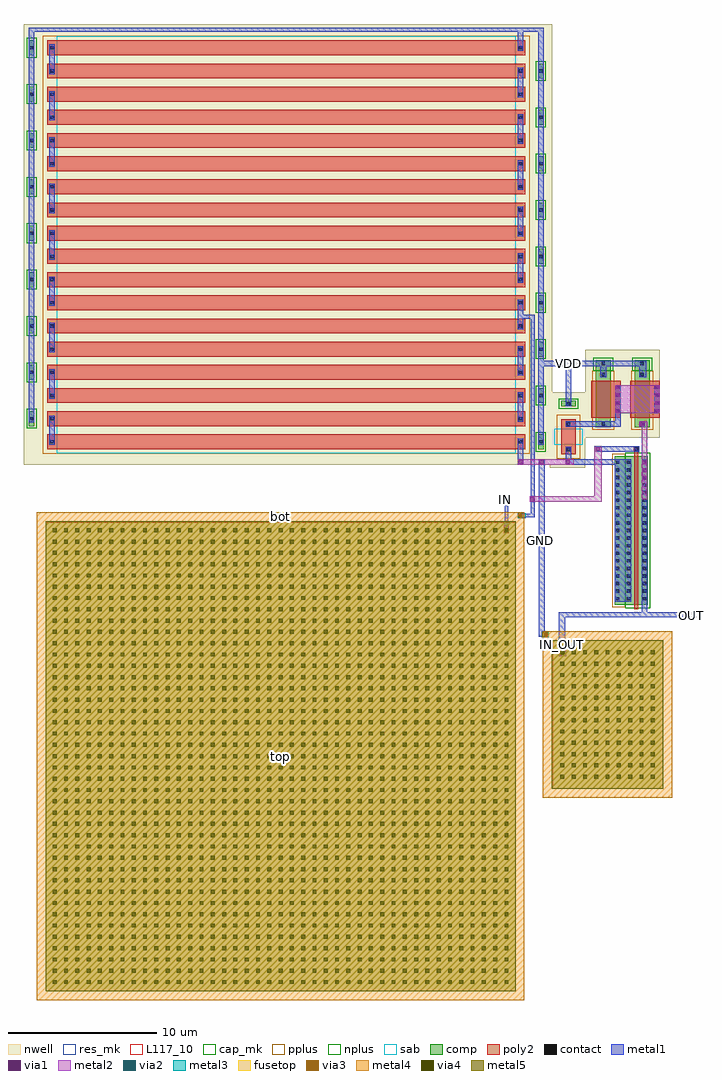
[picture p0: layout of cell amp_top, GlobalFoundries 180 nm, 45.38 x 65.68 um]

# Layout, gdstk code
import gdstk
lib = gdstk.Library(unit=1e-6, precision=5e-09)
def R(c, l, rs):  # rectangles x0, y0, x1, y1
    for r in rs: c.add(gdstk.rectangle(r[:2], r[2:], *l))
def A(c, l, x, y, w, h, nx, ny, dx, dy):  # array of equal rectangles
    R(c, l, [(x+i*dx, y+j*dy, x+i*dx+w, y+j*dy+h) for i in range(nx) for j in range(ny)])
def P(c, l, *ps):  # polygons
    for p in ps: c.add(gdstk.Polygon(p, *l))
nwell = (21, 0)
comp = (22, 0)
poly2 = (30, 0)
pplus = (31, 0)
nplus = (32, 0)
contact = (33, 0)
metal1 = (34, 0)
via1 = (35, 0)
metal2 = (36, 0)
via2 = (38, 0)
via3 = (40, 0)
via4 = (41, 0)
metal3 = (42, 0)
metal4 = (46, 0)
sab = (49, 0)
fusetop = (75, 0)
metal5 = (81, 0)
res_mk = (110, 5)
cap_mk = (117, 5)
L117_10 = (117, 10)

amp_top = lib.new_cell('amp_top')
R(amp_top, nwell, [(39.69,38.19,39.93,44.1), (39.93,38.19,42.31,44.1)])
P(amp_top, nwell, [(34.92,36.155),(34.92,36.365),(-0.49,36.365),(-0.49,66.03),(35.075,66.03),(35.075,41.25),(37.31,41.25),(37.31,44.1),(39.69,44.1),(39.69,38.19),(37.31,38.19),(37.31,36.155)])
A(amp_top, comp, 34.13, 37.41, 0.36, 1, 1, 9, 0, 3.12)
A(amp_top, comp, -0.14, 38.97, 0.36, 1, 1, 9, 0, 3.12)
R(amp_top, comp, [(39.275,26.945,39.985,36.945), (39.985,26.945,40.405,36.945), (40.405,26.945,41.065,36.945), (41.065,26.945,41.485,36.945), (38,38.88,39,39.34), (40.62,38.88,41.62,39.34), (38,39.34,39,42.22), (40.62,39.34,41.62,42.22), (35.67,40.3,36.67,40.66), (38,42.22,39,42.68), (40.62,42.22,41.62,42.68), (38,42.68,39,43.41), (40.62,42.68,41.62,43.41)])
A(amp_top, poly2, 1.08, 37.41, 32.19, 1, 1, 18, 0, 1.56)
R(amp_top, poly2, [(40.595,26.645,40.875,37.245), (35.67,37.07,36.67,39.44), (40.555,37.245,40.915,37.605), (37.7,39.53,39.3,42.03), (39.3,39.53,39.68,42.03), (40.32,39.53,41.92,42.03), (41.92,39.53,42.3,42.03)])
A(amp_top, pplus, 0.78, 37.11, 32.79, 1.6, 1, 18, 0, 1.56)
R(amp_top, pplus, [(39.105,26.775,39.985,37.115), (35.37,36.77,36.97,39.74), (37.76,38.71,39.24,42.68), (40.38,38.71,41.86,42.68)])
A(amp_top, nplus, 33.97, 37.25, 0.68, 1.32, 1, 9, 0, 3.12)
A(amp_top, nplus, -0.3, 38.81, 0.68, 1.32, 1, 9, 0, 3.12)
R(amp_top, nplus, [(39.985,26.705,41.655,37.185), (35.51,40.14,36.83,40.82), (37.83,42.68,39.17,43.58), (40.45,42.68,41.79,43.58)])
A(amp_top, contact, 39.375, 27.245, 0.22, 0.22, 1, 19, 0, 0.51)
A(amp_top, contact, 40.085, 27.245, 0.22, 0.22, 1, 19, 0, 0.51)
A(amp_top, contact, 41.165, 27.245, 0.22, 0.22, 1, 19, 0, 0.51)
A(amp_top, contact, 1.3, 37.8, 0.22, 0.22, 1, 18, 0, 1.56)
A(amp_top, contact, 32.83, 37.8, 0.22, 0.22, 1, 18, 0, 1.56)
A(amp_top, contact, 34.2, 37.8, 0.22, 0.22, 1, 9, 0, 3.12)
A(amp_top, contact, -0.07, 39.36, 0.22, 0.22, 1, 9, 0, 3.12)
A(amp_top, contact, 39.38, 39.905, 0.22, 0.22, 1, 4, 0, 0.51)
A(amp_top, contact, 42, 39.905, 0.22, 0.22, 1, 4, 0, 0.51)
R(amp_top, contact, [(36.06,37.29,36.28,37.51), (40.625,37.315,40.845,37.535), (36.06,39,36.28,39.22), (38.39,39,38.61,39.22), (41.01,39,41.23,39.22), (36.06,40.37,36.28,40.59), (38.39,42.34,38.61,42.56), (41.01,42.34,41.23,42.56), (38.39,43.07,38.61,43.29), (41.01,43.07,41.23,43.29)])
A(amp_top, metal1, 1.22, 37.72, 0.38, 0.38, 1, 18, 0, 1.56)
A(amp_top, metal1, 32.75, 37.72, 0.38, 0.38, 1, 18, 0, 1.56)
A(amp_top, metal1, 34.12, 37.72, 0.38, 0.38, 1, 9, 0, 3.12)
A(amp_top, metal1, -0.15, 39.28, 0.38, 0.38, 1, 9, 0, 3.12)
A(amp_top, metal1, 1.22, 41.22, 0.38, 1.18, 1, 7, 0, 3.12)
A(amp_top, metal1, 32.75, 52.14, 0.38, 1.18, 1, 3, 0, 3.12)
R(amp_top, metal1, [(39.295,27.165,39.675,36.725), (40.005,27.165,40.385,36.725), (31.86,31.77,32.12,31.83), (31.86,31.83,32.12,32.09), (32.75,32.82,32.81,33.08), (32.81,32.82,32.84,33.08), (32.75,36.365,33.13,37.72), (34.12,37.705,34.5,37.72), (1.22,37.71,1.6,37.72), (1.22,38.05,1.6,39.305), (34.12,38.075,34.24,53.32), (32.75,38.1,33.13,38.12), (35.98,38.92,38.31,39.3), (38.31,38.92,38.69,39.3), (40.93,38.92,41.31,39.3), (38.69,38.925,39.69,39.3), (-0.15,39.245,0.23,39.28), (32.75,39.255,33.13,39.28), (-0.15,39.28,0.23,63.395), (39.3,39.3,39.69,39.825), (32.75,39.565,33.13,40.865), (1.22,39.66,1.6,39.67), (39.3,39.825,39.68,41.735), (41.92,39.825,42.3,41.735), (1.22,40.825,1.6,40.84), (32.75,41.22,33.13,41.235), (38.31,42.26,38.69,42.64), (40.93,42.26,41.31,42.64), (41.31,42.26,41.405,43.37), (32.75,42.385,33.13,42.4), (38.31,42.635,38.69,42.99), (40.93,42.64,41.31,42.99), (32.75,42.725,33.13,43.96), (1.22,42.78,1.6,42.795), (38.31,42.99,38.69,43.37), (38.69,42.99,40.93,43.37), (40.93,42.99,41.31,43.37), (1.22,43.945,1.6,43.96), (32.75,44.34,33.13,44.355), (32.75,45.5,33.13,45.52), (32.75,45.82,33.13,47.12), (1.22,45.9,1.6,45.915), (1.22,47.065,1.6,47.08), (32.75,47.46,33.13,47.48), (32.75,48.62,33.13,48.64), (32.75,48.915,33.13,50.2), (1.22,49.02,1.6,49.03), (1.22,50.18,1.6,50.2), (32.75,50.58,33.13,50.595), (32.75,51.74,33.13,51.76), (1.22,52.14,1.6,52.16), (1.22,53.305,1.6,53.32), (32.75,53.7,33.13,53.72), (34.12,53.7,34.24,56.44), (32.75,54.865,33.13,54.88), (1.22,55.26,1.6,55.275), (1.22,56.425,1.6,56.44), (32.75,56.82,33.13,56.845), (34.12,56.82,34.24,59.56), (32.75,57.98,33.13,58), (33.02,58.18,33.07,58.44), (1.22,58.38,1.6,58.4), (1.22,59.545,1.6,59.56), (32.75,59.94,33.13,59.965), (34.12,59.94,34.5,62.63), (32.75,61.11,33.13,61.12), (32.75,61.12,33.13,63.06), (1.22,61.5,1.6,61.515), (34.12,62.63,34.5,65.785), (1.22,62.645,1.6,62.68), (1.22,62.68,1.6,64.655), (32.75,63.06,33.13,63.075), (-0.15,63.395,0.23,65.785), (32.75,64.22,33.13,64.24), (32.75,64.24,33.13,65.655)])
P(amp_top, metal1, [(35.525,23.565),(35.525,26.445),(41.085,26.445),(41.085,36.725),(41.465,36.725),(41.465,26.445),(44.895,26.445),(44.895,26.115),(35.94,26.115),(35.94,23.565)],
  [(31.86,32.09),(31.86,34.26),(32.12,34.26),(32.12,33.875),(32.12,32.09)],
  [(32.84,32.82),(32.84,33.08),(33.62,33.08),(33.62,33.875),(33.575,33.875),(33.575,34.26),(33.62,34.26),(33.62,34.35),(33.88,34.35),(33.88,32.82)],
  [(34.24,37.725),(34.24,59.945),(34.5,59.945),(34.5,43.37),(38.31,43.37),(38.31,42.99),(36.36,42.99),(36.36,40.29),(35.98,40.29),(35.98,42.99),(34.5,42.99),(34.5,37.725)],
  [(34.16,24.785),(34.16,25.095),(34.16,36.725),(34.575,36.725),(34.575,25.095),(34.845,25.095),(34.845,24.785)],
  [(37.895,37.235),(37.895,37.615),(40.925,37.615),(40.925,37.235),(40.545,37.235)],
  [(39.675,27.165),(39.675,36.365),(35.98,36.365),(35.98,37.59),(36.36,37.59),(36.36,36.725),(40.005,36.725),(40.005,27.165)],
  [(34.12,59.56),(34.12,59.56),(34.24,59.56),(34.24,59.56)],
  [(34.12,59.56),(34.12,59.56),(34.24,59.56),(34.24,59.56)],
  [(32.75,51.76),(32.75,51.76),(33.13,51.76),(33.13,51.76)],
  [(32.75,64.24),(32.75,64.24),(33.13,64.24),(33.13,64.24)],
  [(7.845,63.03),(7.845,63.03),(7.845,63.03),(7.845,63.03)])
A(amp_top, via1, 39.36, 40.395, 0.26, 0.26, 1, 3, 0, 0.52)
A(amp_top, via1, 41.98, 40.395, 0.26, 0.26, 1, 3, 0, 0.52)
R(amp_top, via1, [(35.625,23.61,35.885,23.87), (34.525,24.805,34.785,25.065), (34.525,24.805,34.785,25.065), (31.86,31.83,32.12,32.09), (32.81,32.82,33.07,33.08), (33.595,33.925,33.855,34.185), (41.165,35.365,41.425,35.625), (41.165,35.87,41.42,36.135), (41.145,36.405,41.405,36.665), (32.81,36.415,33.07,36.675), (34.245,36.425,34.505,36.685), (36.005,36.425,36.265,36.685), (38.015,37.3,38.275,37.56), (40.99,38.98,41.25,39.24), (41.01,39,41.23,39.22), (39.36,39.865,39.62,40.125), (41.98,39.865,42.24,40.125), (41.98,41.435,42.24,41.695)])
P(amp_top, via1, [(32.895,33.06),(32.895,33.06),(32.895,33.06),(32.895,33.06)])
R(amp_top, metal2, [(35.525,23.485,36,24.045), (34.38,24.75,34.845,25.125), (34.38,24.75,34.845,25.125), (31.82,31.77,32.16,32.305), (32.75,32.78,33.285,32.82), (32.75,32.82,33.285,33.08), (32.75,33.08,33.285,33.12), (41.085,34.06,41.465,39.3), (32.75,36.365,36.52,36.725), (40.93,38.92,41.385,39.3), (39.3,39.825,42.3,41.735)])
P(amp_top, metal2, [(33.575,33.875),(33.575,34.26),(37.895,34.26),(37.895,37.585),(38.405,37.585),(38.405,33.875)])
R(amp_top, via2, [(34.525,24.805,34.785,25.065), (34.525,24.805,34.785,25.065), (32.81,32.82,33.07,33.08)])
R(amp_top, via3, [(34.525,24.805,34.785,25.065), (34.525,24.805,34.785,25.065), (32.81,32.82,33.07,33.08)])
A(amp_top, via4, 1.46, 1.43, 0.26, 0.26, 41, 41, 0.76, 0.76)
R(amp_top, via4, [(35.625,15.25,35.885,15.51), (35.625,15.25,35.885,15.51), (36.385,15.25,36.645,15.51), (36.385,15.25,36.645,15.51), (37.145,15.25,37.405,15.51), (37.145,15.25,37.405,15.51), (37.905,15.25,38.165,15.51), (37.905,15.25,38.165,15.51), (38.665,15.25,38.925,15.51), (38.665,15.25,38.925,15.51), (39.425,15.25,39.685,15.51), (39.425,15.25,39.685,15.51), (40.185,15.25,40.445,15.51), (40.185,15.25,40.445,15.51), (40.945,15.25,41.205,15.51), (40.945,15.25,41.205,15.51), (41.705,15.25,41.965,15.51), (41.705,15.25,41.965,15.51), (35.625,16.01,35.885,16.27), (35.625,16.01,35.885,16.27), (36.385,16.01,36.645,16.27), (36.385,16.01,36.645,16.27), (37.145,16.01,37.405,16.27), (37.145,16.01,37.405,16.27), (37.905,16.01,38.165,16.27), (37.905,16.01,38.165,16.27), (38.665,16.01,38.925,16.27), (38.665,16.01,38.925,16.27), (39.425,16.01,39.685,16.27), (39.425,16.01,39.685,16.27), (40.185,16.01,40.445,16.27), (40.185,16.01,40.445,16.27), (40.945,16.01,41.205,16.27), (40.945,16.01,41.205,16.27), (41.705,16.01,41.965,16.27), (41.705,16.01,41.965,16.27), (35.625,16.77,35.885,17.03), (35.625,16.77,35.885,17.03), (36.385,16.77,36.645,17.03), (36.385,16.77,36.645,17.03), (37.145,16.77,37.405,17.03), (37.145,16.77,37.405,17.03), (37.905,16.77,38.165,17.03), (37.905,16.77,38.165,17.03), (38.665,16.77,38.925,17.03), (38.665,16.77,38.925,17.03), (39.425,16.77,39.685,17.03), (39.425,16.77,39.685,17.03), (40.185,16.77,40.445,17.03), (40.185,16.77,40.445,17.03), (40.945,16.77,41.205,17.03), (40.945,16.77,41.205,17.03), (41.705,16.77,41.965,17.03), (41.705,16.77,41.965,17.03), (35.625,17.53,35.885,17.79), (35.625,17.53,35.885,17.79), (36.385,17.53,36.645,17.79), (36.385,17.53,36.645,17.79), (37.145,17.53,37.405,17.79), (37.145,17.53,37.405,17.79), (37.905,17.53,38.165,17.79), (37.905,17.53,38.165,17.79), (38.665,17.53,38.925,17.79), (38.665,17.53,38.925,17.79), (39.425,17.53,39.685,17.79), (39.425,17.53,39.685,17.79), (40.185,17.53,40.445,17.79), (40.185,17.53,40.445,17.79), (40.945,17.53,41.205,17.79), (40.945,17.53,41.205,17.79), (41.705,17.53,41.965,17.79), (41.705,17.53,41.965,17.79), (35.625,18.29,35.885,18.55), (35.625,18.29,35.885,18.55), (36.385,18.29,36.645,18.55), (36.385,18.29,36.645,18.55), (37.145,18.29,37.405,18.55), (37.145,18.29,37.405,18.55), (37.905,18.29,38.165,18.55), (37.905,18.29,38.165,18.55), (38.665,18.29,38.925,18.55), (38.665,18.29,38.925,18.55), (39.425,18.29,39.685,18.55), (39.425,18.29,39.685,18.55), (40.185,18.29,40.445,18.55), (40.185,18.29,40.445,18.55), (40.945,18.29,41.205,18.55), (40.945,18.29,41.205,18.55), (41.705,18.29,41.965,18.55), (41.705,18.29,41.965,18.55), (35.625,19.05,35.885,19.31), (35.625,19.05,35.885,19.31), (36.385,19.05,36.645,19.31), (36.385,19.05,36.645,19.31), (37.145,19.05,37.405,19.31), (37.145,19.05,37.405,19.31), (37.905,19.05,38.165,19.31), (37.905,19.05,38.165,19.31), (38.665,19.05,38.925,19.31), (38.665,19.05,38.925,19.31), (39.425,19.05,39.685,19.31), (39.425,19.05,39.685,19.31), (40.185,19.05,40.445,19.31), (40.185,19.05,40.445,19.31), (40.945,19.05,41.205,19.31), (40.945,19.05,41.205,19.31), (41.705,19.05,41.965,19.31), (41.705,19.05,41.965,19.31), (35.625,19.81,35.885,20.07), (35.625,19.81,35.885,20.07), (36.385,19.81,36.645,20.07), (36.385,19.81,36.645,20.07), (37.145,19.81,37.405,20.07), (37.145,19.81,37.405,20.07), (37.905,19.81,38.165,20.07), (37.905,19.81,38.165,20.07), (38.665,19.81,38.925,20.07), (38.665,19.81,38.925,20.07), (39.425,19.81,39.685,20.07), (39.425,19.81,39.685,20.07), (40.185,19.81,40.445,20.07), (40.185,19.81,40.445,20.07), (40.945,19.81,41.205,20.07), (40.945,19.81,41.205,20.07), (41.705,19.81,41.965,20.07), (41.705,19.81,41.965,20.07), (35.625,20.57,35.885,20.83), (35.625,20.57,35.885,20.83), (36.385,20.57,36.645,20.83), (36.385,20.57,36.645,20.83), (37.145,20.57,37.405,20.83), (37.145,20.57,37.405,20.83), (37.905,20.57,38.165,20.83), (37.905,20.57,38.165,20.83), (38.665,20.57,38.925,20.83), (38.665,20.57,38.925,20.83), (39.425,20.57,39.685,20.83), (39.425,20.57,39.685,20.83), (40.185,20.57,40.445,20.83), (40.185,20.57,40.445,20.83), (40.945,20.57,41.205,20.83), (40.945,20.57,41.205,20.83), (41.705,20.57,41.965,20.83), (41.705,20.57,41.965,20.83), (35.625,21.33,35.885,21.59), (35.625,21.33,35.885,21.59), (36.385,21.33,36.645,21.59), (36.385,21.33,36.645,21.59), (37.145,21.33,37.405,21.59), (37.145,21.33,37.405,21.59), (37.905,21.33,38.165,21.59), (37.905,21.33,38.165,21.59), (38.665,21.33,38.925,21.59), (38.665,21.33,38.925,21.59), (39.425,21.33,39.685,21.59), (39.425,21.33,39.685,21.59), (40.185,21.33,40.445,21.59), (40.185,21.33,40.445,21.59), (40.945,21.33,41.205,21.59), (40.945,21.33,41.205,21.59), (41.705,21.33,41.965,21.59), (41.705,21.33,41.965,21.59), (35.625,22.09,35.885,22.35), (35.625,22.09,35.885,22.35), (36.385,22.09,36.645,22.35), (36.385,22.09,36.645,22.35), (37.145,22.09,37.405,22.35), (37.145,22.09,37.405,22.35), (37.905,22.09,38.165,22.35), (37.905,22.09,38.165,22.35), (38.665,22.09,38.925,22.35), (38.665,22.09,38.925,22.35), (39.425,22.09,39.685,22.35), (39.425,22.09,39.685,22.35), (40.185,22.09,40.445,22.35), (40.185,22.09,40.445,22.35), (40.945,22.09,41.205,22.35), (40.945,22.09,41.205,22.35), (41.705,22.09,41.965,22.35), (41.705,22.09,41.965,22.35), (35.625,22.85,35.885,23.11), (35.625,22.85,35.885,23.11), (36.385,22.85,36.645,23.11), (36.385,22.85,36.645,23.11), (37.145,22.85,37.405,23.11), (37.145,22.85,37.405,23.11), (37.905,22.85,38.165,23.11), (37.905,22.85,38.165,23.11), (38.665,22.85,38.925,23.11), (38.665,22.85,38.925,23.11), (39.425,22.85,39.685,23.11), (39.425,22.85,39.685,23.11), (40.185,22.85,40.445,23.11), (40.185,22.85,40.445,23.11), (40.945,22.85,41.205,23.11), (40.945,22.85,41.205,23.11), (41.705,22.85,41.965,23.11), (41.705,22.85,41.965,23.11), (35.625,23.61,35.885,23.87), (35.625,23.61,35.885,23.87), (36.385,23.61,36.645,23.87), (36.385,23.61,36.645,23.87), (37.145,23.61,37.405,23.87), (37.145,23.61,37.405,23.87), (37.905,23.61,38.165,23.87), (37.905,23.61,38.165,23.87), (38.665,23.61,38.925,23.87), (38.665,23.61,38.925,23.87), (39.425,23.61,39.685,23.87), (39.425,23.61,39.685,23.87), (40.185,23.61,40.445,23.87), (40.185,23.61,40.445,23.87), (40.945,23.61,41.205,23.87), (40.945,23.61,41.205,23.87), (41.705,23.61,41.965,23.87), (41.705,23.61,41.965,23.87)])
R(amp_top, metal3, [(34.38,24.75,34.845,25.125), (34.38,24.75,34.845,25.125), (32.75,32.78,33.285,33.12)])
R(amp_top, metal4, [(0.38,0.35,33.2,33.17), (34.445,13.96,43.145,25.16), (34.445,13.96,43.145,25.16)])
A(amp_top, sab, 1.74, 37.13, 30.87, 1.56, 1, 18, 0, 1.56)
R(amp_top, sab, [(35.215,37.73,37.125,38.78)])
R(amp_top, fusetop, [(0.98,0.95,32.6,32.57), (35.045,14.56,42.545,24.56), (35.045,14.56,42.545,24.56)])
R(amp_top, metal5, [(0.98,0.95,32.6,32.57), (35.045,14.56,42.545,24.56), (35.045,14.56,42.545,24.56)])
A(amp_top, res_mk, 1.74, 37.41, 30.87, 1, 1, 18, 0, 1.56)
R(amp_top, res_mk, [(35.67,37.73,36.67,38.78)])
R(amp_top, cap_mk, [(0.38,0.35,33.2,33.17), (34.445,13.96,43.145,25.16), (34.445,13.96,43.145,25.16)])
R(amp_top, L117_10, [(35.045,14.56,35.145,24.56), (35.045,14.56,35.145,24.56), (0.98,32.47,32.6,32.57)])
amp_top.add(gdstk.FlexPath([(32.94,37.72),(32.94,36.365)], 0.26, ends="flush", simple_path=True, layer=34, datatype=0))  # metal1
amp_top.add(gdstk.FlexPath([(34.37,64.465),(34.37,65.655),(0.1,65.655),(0.1,65.625),(0.1,65.625)], 0.26, ends="flush", simple_path=True, layer=34, datatype=0))  # metal1
amp_top.add(gdstk.FlexPath([(1.41,39.355),(1.41,37.905)], 0.26, ends="flush", simple_path=True, layer=34, datatype=0))  # metal1
amp_top.add(gdstk.FlexPath([(1.41,42.4),(1.41,41.14)], 0.26, ends="flush", simple_path=True, layer=34, datatype=0))  # metal1
amp_top.add(gdstk.FlexPath([(1.41,45.52),(1.41,44.15)], 0.26, ends="flush", simple_path=True, layer=34, datatype=0))  # metal1
amp_top.add(gdstk.FlexPath([(1.41,48.64),(1.41,47.27)], 0.26, ends="flush", simple_path=True, layer=34, datatype=0))  # metal1
amp_top.add(gdstk.FlexPath([(1.41,51.76),(1.41,50.5)], 0.26, ends="flush", simple_path=True, layer=34, datatype=0))  # metal1
amp_top.add(gdstk.FlexPath([(1.41,54.88),(1.41,53.62)], 0.26, ends="flush", simple_path=True, layer=34, datatype=0))  # metal1
amp_top.add(gdstk.FlexPath([(1.41,58),(1.41,56.63),(1.41,56.63)], 0.26, ends="flush", simple_path=True, layer=34, datatype=0))  # metal1
amp_top.add(gdstk.FlexPath([(1.41,61.12),(1.41,59.86),(1.41,59.86)], 0.26, ends="flush", simple_path=True, layer=34, datatype=0))  # metal1
amp_top.add(gdstk.FlexPath([(32.94,59.57),(32.94,58.31),(33.05,58.31)], 0.26, ends="flush", simple_path=True, layer=34, datatype=0))  # metal1
amp_top.add(gdstk.FlexPath([(32.94,56.44),(32.94,55.07),(32.94,55.07)], 0.26, ends="flush", simple_path=True, layer=34, datatype=0))  # metal1
amp_top.add(gdstk.FlexPath([(32.94,53.32),(32.94,51.95)], 0.26, ends="flush", simple_path=True, layer=34, datatype=0))  # metal1
amp_top.add(gdstk.FlexPath([(32.94,50.2),(32.94,48.72)], 0.26, ends="flush", simple_path=True, layer=34, datatype=0))  # metal1
amp_top.add(gdstk.FlexPath([(32.94,47.16),(32.94,45.71)], 0.26, ends="flush", simple_path=True, layer=34, datatype=0))  # metal1
amp_top.add(gdstk.FlexPath([(33.04,46.33),(33.75,46.33),(33.75,34.35),(33.75,34.35)], 0.26, ends="flush", simple_path=True, layer=34, datatype=0))  # metal1
amp_top.add(gdstk.FlexPath([(32.94,43.96),(32.94,42.59)], 0.26, ends="flush", simple_path=True, layer=34, datatype=0))  # metal1
amp_top.add(gdstk.FlexPath([(32.94,40.92),(32.94,39.47)], 0.26, ends="flush", simple_path=True, layer=34, datatype=0))  # metal1
amp_top.add(gdstk.Label('OUT', (44.445,26.215), layer=34, texttype=10))
amp_top.add(gdstk.Label('IN_OUT', (35.72,24.275), layer=34, texttype=10))
amp_top.add(gdstk.Label('GND', (34.29,31.29), layer=34, texttype=10))
amp_top.add(gdstk.Label('VDD', (36.18,43.15), layer=34, texttype=10))
amp_top.add(gdstk.Label('IN', (31.955,34.055), layer=34, texttype=10))
amp_top.add(gdstk.Label('top', (16.79,16.76), layer=81, texttype=10))
amp_top.add(gdstk.Label('bot', (16.79,32.87), layer=46, texttype=10))

lib.write_gds('amp_top.gds')
